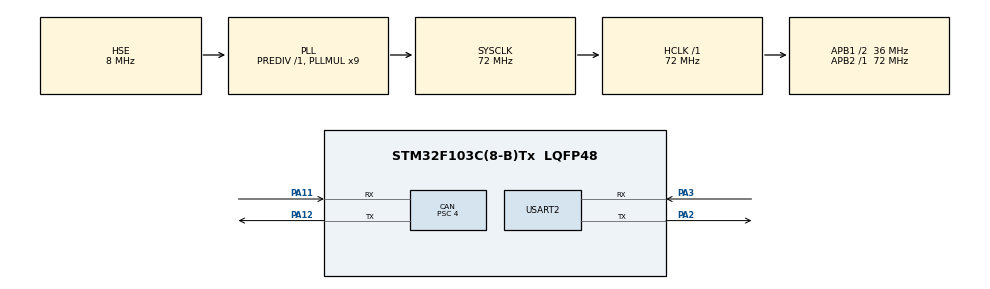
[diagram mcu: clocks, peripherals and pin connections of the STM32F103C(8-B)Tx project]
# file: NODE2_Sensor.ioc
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CAN.BS1=CAN_BS1_13TQ
CAN.BS2=CAN_BS2_4TQ
CAN.CalculateBaudRate=500000
CAN.CalculateTimeBit=2000
CAN.CalculateTimeQuantum=111.11111111111111
CAN.Prescaler=4
Mcu.Family=STM32F1
Mcu.Name=STM32F103C(8-B)Tx
Mcu.Package=LQFP48
NVIC.PriorityGroup=NVIC_PRIORITYGROUP_4
PA11.Mode=CAN_Activate
PA11.Signal=CAN_RX
PA12.Mode=CAN_Activate
PA12.Signal=CAN_TX
PA2.Mode=Asynchronous
PA2.Signal=USART2_TX
PA3.Mode=Asynchronous
PA3.Signal=USART2_RX
PD0-OSC_IN.Mode=HSE-External-Oscillator
PD0-OSC_IN.Signal=RCC_OSC_IN
PD1-OSC_OUT.Mode=HSE-External-Oscillator
PD1-OSC_OUT.Signal=RCC_OSC_OUT
ProjectManager.HeapSize=0x200
ProjectManager.StackSize=0x400
ProjectManager.TargetToolchain=STM32CubeIDE
RCC.AHBFreq_Value=72000000
RCC.APB1CLKDivider=RCC_HCLK_DIV2
RCC.APB1Freq_Value=36000000
RCC.APB1TimFreq_Value=72000000
RCC.APB2Freq_Value=72000000
RCC.APB2TimFreq_Value=72000000
RCC.HCLKFreq_Value=72000000
RCC.PLLMUL=RCC_PLL_MUL9
RCC.PLLSourceVirtual=RCC_PLLSOURCE_HSE
RCC.SYSCLKFreq_VALUE=72000000
RCC.SYSCLKSource=RCC_SYSCLKSOURCE_PLLCLK
RCC.USBFreq_Value=72000000
USART2.VirtualMode=VM_ASYNC
VP_SYS_VS_ND.Mode=No_Debug
board=custom

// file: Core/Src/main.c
/* USER CODE BEGIN Header */
/**
  ******************************************************************************
  * @file           : main.c
  * @brief          : Main program body
  ******************************************************************************
  * @attention
  *
  * Copyright (c) 2023 STMicroelectronics.
  * All rights reserved.
  *
  * This software is licensed under terms that can be found in the LICENSE file
  * in the root directory of this software component.
  * If no LICENSE file comes with this software, it is provided AS-IS.
  *
  ******************************************************************************
  */
/* USER CODE END Header */
#include "main.h"

/* USER CODE BEGIN Includes */
#include "stm32f1xx_hal_can.h"
#include <stdio.h>
#include <stdint.h>
#include <string.h>
/* USER CODE END Includes */

/* USER CODE BEGIN PTD */
typedef struct
{
	char error[20];
	char success[20];
}CanStatus;
/* USER CODE END PTD */

/* USER CODE BEGIN PD */
#define TIME_DELAY            100
#define DATA_LENGTH_CODE      8
#define INDEX_COUNT_NUMBER    7
#define CAN_STD_ID_RX       (0x012)
#define CAN_STD_ID_TX       (0x0A2)
/* USER CODE END PD */

CAN_HandleTypeDef hcan;

UART_HandleTypeDef huart2;

/* USER CODE BEGIN PV */
int crc_Value;
CanStatus can_Status = {"CAN error!!","CAN success"};
uint8_t transmit_Buffer[DATA_LENGTH_CODE] ;
uint8_t receive_Buffer[DATA_LENGTH_CODE]  ;
uint32_t mailbox;
uint32_t fifo;

CAN_RxHeaderTypeDef Receive_header = {
    .RTR    = 0x00,
    .DLC    = 0x08,
    .IDE    = 0x00,
    .StdId  = CAN_STD_ID_RX,
};

CAN_TxHeaderTypeDef Transmit_Header = {
    .RTR    = 0x00,
    .DLC    = 0x08,
    .IDE    = 0x00,
    .StdId  = CAN_STD_ID_TX,
};
/* USER CODE END PV */

void SystemClock_Config(void);
static void MX_GPIO_Init(void);
static void MX_CAN_Init(void);
static void MX_USART2_UART_Init(void);

/* USER CODE BEGIN 0 */
int calc_SAE_J1850 (uint8_t data[] , int crc_len)
{
    int idx, crc, temp1, temp2, idy;
    crc   = 0;
    idx   = 0;
    idy   = 8;
    temp1 = 0;
    temp2 = 0;

    for ( ; idx < crc_len + 1; idx ++)
    {
      if(idx == 0)
      {
        temp1 = 0;
      }
      else
      {
        temp1 = data[crc_len - idx];
      }
      crc = (crc^temp1);
      for ( ; idy > 0 ; idy--)
      {
        temp2 = crc;
        crc <<= 1;
        if ((temp2 & 128) != 0)
        {
          crc ^= 0x1D;
        }
      }
    }
    return crc;
}

void update_Transmit_Buffer ()
{
    transmit_Buffer[0] = receive_Buffer[0];
    transmit_Buffer[1] = receive_Buffer[1];
    transmit_Buffer[2] = receive_Buffer[0] + receive_Buffer[1];
    transmit_Buffer[7] = calc_SAE_J1850(transmit_Buffer,6);
}
/* USER CODE END 0 */

int main(void)
{

  /* MCU Configuration--------------------------------------------------------*/

  /* Reset of all peripherals, Initializes the Flash interface and the Systick. */
  HAL_Init();

  /* Configure the system clock */
  SystemClock_Config();

  /* Initialize all configured peripherals */
  MX_GPIO_Init();
  MX_CAN_Init();
  MX_USART2_UART_Init();
  /* USER CODE BEGIN 2 */
  HAL_CAN_Start(&hcan);
  /* USER CODE END 2 */

  /* Infinite loop */
  /* USER CODE BEGIN WHILE */
  while (1)
  {
	  if (HAL_CAN_AddTxMessage(&hcan, &Transmit_Header, transmit_Buffer, &mailbox) != HAL_OK )
	  {
		  HAL_UART_Transmit(&huart2, (uint8_t*)can_Status.error, sizeof(can_Status.error), HAL_MAX_DELAY);
		  HAL_Delay(TIME_DELAY);
	  }
	  else
	  {
		  HAL_UART_Transmit(&huart2, (uint8_t*)can_Status.success , sizeof(can_Status.success), HAL_MAX_DELAY);
		  HAL_Delay(TIME_DELAY);
	  }
	  if (HAL_CAN_GetRxMessage(&hcan, fifo, &Receive_header, receive_Buffer) != HAL_OK )
	  {
		  HAL_UART_Transmit(&huart2, (uint8_t*)can_Status.error , sizeof(can_Status.error), HAL_MAX_DELAY);
		  HAL_Delay(TIME_DELAY);
	  }
	  else
	  {
		  HAL_UART_Transmit(&huart2, (uint8_t*)can_Status.success , sizeof(can_Status.success), HAL_MAX_DELAY);
		  HAL_Delay(TIME_DELAY);
		  update_Transmit_Buffer();
		  HAL_UART_Transmit(&huart2, receive_Buffer , sizeof(receive_Buffer), HAL_MAX_DELAY);
		  HAL_Delay(TIME_DELAY);
	  }
    /* USER CODE END WHILE */

  }
}

void SystemClock_Config(void)
{
  RCC_OscInitTypeDef RCC_OscInitStruct = {0};
  RCC_ClkInitTypeDef RCC_ClkInitStruct = {0};

  /** Initializes the RCC Oscillators according to the specified parameters
  * in the RCC_OscInitTypeDef structure.
  */
  RCC_OscInitStruct.OscillatorType = RCC_OSCILLATORTYPE_HSE;
  RCC_OscInitStruct.HSEState = RCC_HSE_ON;
  RCC_OscInitStruct.HSEPredivValue = RCC_HSE_PREDIV_DIV1;
  RCC_OscInitStruct.HSIState = RCC_HSI_ON;
  RCC_OscInitStruct.PLL.PLLState = RCC_PLL_ON;
  RCC_OscInitStruct.PLL.PLLSource = RCC_PLLSOURCE_HSE;
  RCC_OscInitStruct.PLL.PLLMUL = RCC_PLL_MUL9;
  if (HAL_RCC_OscConfig(&RCC_OscInitStruct) != HAL_OK)
  {
    Error_Handler();
  }

  /** Initializes the CPU, AHB and APB buses clocks
  */
  RCC_ClkInitStruct.ClockType = RCC_CLOCKTYPE_HCLK|RCC_CLOCKTYPE_SYSCLK
                              |RCC_CLOCKTYPE_PCLK1|RCC_CLOCKTYPE_PCLK2;
  RCC_ClkInitStruct.SYSCLKSource = RCC_SYSCLKSOURCE_PLLCLK;
  RCC_ClkInitStruct.AHBCLKDivider = RCC_SYSCLK_DIV1;
  RCC_ClkInitStruct.APB1CLKDivider = RCC_HCLK_DIV2;
  RCC_ClkInitStruct.APB2CLKDivider = RCC_HCLK_DIV1;

  if (HAL_RCC_ClockConfig(&RCC_ClkInitStruct, FLASH_LATENCY_2) != HAL_OK)
  {
    Error_Handler();
  }
}

static void MX_CAN_Init(void)
{

  hcan.Instance = CAN1;
  hcan.Init.Prescaler = 4;
  hcan.Init.Mode = CAN_MODE_NORMAL;
  hcan.Init.SyncJumpWidth = CAN_SJW_1TQ;
  hcan.Init.TimeSeg1 = CAN_BS1_13TQ;
  hcan.Init.TimeSeg2 = CAN_BS2_4TQ;
  hcan.Init.TimeTriggeredMode = DISABLE;
  hcan.Init.AutoBusOff = DISABLE;
  hcan.Init.AutoWakeUp = DISABLE;
  hcan.Init.AutoRetransmission = DISABLE;
  hcan.Init.ReceiveFifoLocked = DISABLE;
  hcan.Init.TransmitFifoPriority = DISABLE;
  if (HAL_CAN_Init(&hcan) != HAL_OK)
  {
    Error_Handler();
  }

}

static void MX_USART2_UART_Init(void)
{

  huart2.Instance = USART2;
  huart2.Init.BaudRate = 115200;
  huart2.Init.WordLength = UART_WORDLENGTH_8B;
  huart2.Init.StopBits = UART_STOPBITS_1;
  huart2.Init.Parity = UART_PARITY_NONE;
  huart2.Init.Mode = UART_MODE_TX_RX;
  huart2.Init.HwFlowCtl = UART_HWCONTROL_NONE;
  huart2.Init.OverSampling = UART_OVERSAMPLING_16;
  if (HAL_UART_Init(&huart2) != HAL_OK)
  {
    Error_Handler();
  }

}

static void MX_GPIO_Init(void)
{

  /* GPIO Ports Clock Enable */
  __HAL_RCC_GPIOD_CLK_ENABLE();
  __HAL_RCC_GPIOA_CLK_ENABLE();

}

void Error_Handler(void)
{
  __disable_irq();
  while (1)
  {
  }
}
